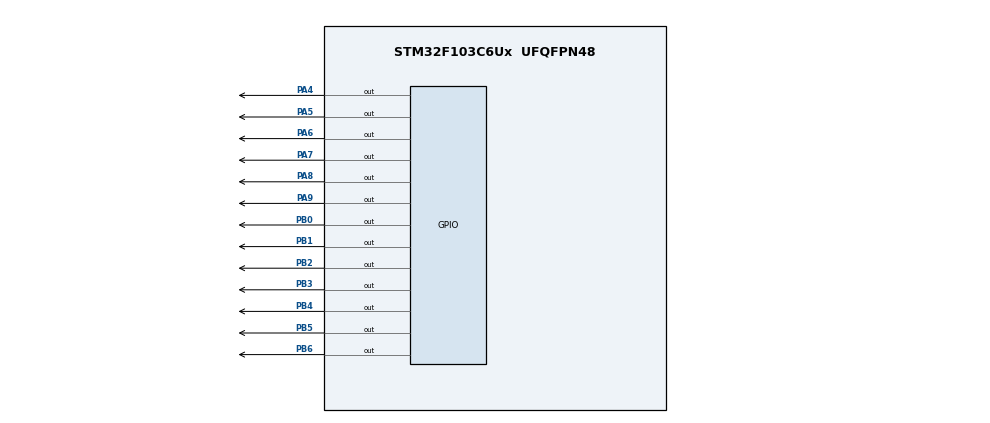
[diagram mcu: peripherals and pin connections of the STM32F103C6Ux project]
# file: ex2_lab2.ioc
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Mcu.Family=STM32F1
Mcu.Name=STM32F103C6Ux
Mcu.Package=UFQFPN48
NVIC.PriorityGroup=NVIC_PRIORITYGROUP_4
NVIC.TIM2_IRQn=true\:0\:0\:false\:false\:true\:true\:true
PA4.Signal=GPIO_Output
PA5.Signal=GPIO_Output
PA6.Signal=GPIO_Output
PA7.Signal=GPIO_Output
PA8.Signal=GPIO_Output
PA9.Signal=GPIO_Output
PB0.Signal=GPIO_Output
PB1.Signal=GPIO_Output
PB2.Signal=GPIO_Output
PB3.Signal=GPIO_Output
PB4.Signal=GPIO_Output
PB5.Signal=GPIO_Output
PB6.Signal=GPIO_Output
ProjectManager.HeapSize=0x200
ProjectManager.StackSize=0x400
ProjectManager.TargetToolchain=STM32CubeIDE
RCC.APB1Freq_Value=8000000
RCC.APB2Freq_Value=8000000
TIM2.Period=499
TIM2.Prescaler=7999
VP_SYS_VS_ND.Mode=No_Debug
VP_TIM2_VS_ClockSourceINT.Mode=Internal
board=custom

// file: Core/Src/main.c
/* USER CODE BEGIN Header */
/**
  ******************************************************************************
  * @file           : main.c
  * @brief          : Main program body
  ******************************************************************************
  * @attention
  *
  * <h2><center>&copy; Copyright (c) 2026 STMicroelectronics.
  * All rights reserved.</center></h2>
  *
  * This software component is licensed by ST under BSD 3-Clause license,
  * the "License"; You may not use this file except in compliance with the
  * License. You may obtain a copy of the License at:
  *                        opensource.org/licenses/BSD-3-Clause
  *
  ******************************************************************************
  */
/* USER CODE END Header */
#include "main.h"

TIM_HandleTypeDef htim2;

void SystemClock_Config(void);
static void MX_GPIO_Init(void);
static void MX_TIM2_Init(void);

/* USER CODE BEGIN 0 */
const uint8_t segment_code[10] = {
    0x40, // 0: a,b,c,d,e,f on (g off)
    0x79, // 1: b,c on
    0x24, // 2: a,b,d,e,g on
    0x30, // 3: a,b,c,d,g on
    0x19, // 4: b,c,f,g on
    0x12, // 5: a,c,d,f,g on
    0x02, // 6: a,c,d,e,f,g on
    0x78, // 7: a,b,c on
    0x00, // 8: a,b,c,d,e,f,g on
    0x10  // 9: a,b,c,d,f,g on
};

void display7SEG(int num) {
    if (num < 0 || num > 9) return;

    uint8_t code = segment_code[num];

    HAL_GPIO_WritePin(GPIOB, GPIO_PIN_0, (code & (1 << 0)) ? GPIO_PIN_SET : GPIO_PIN_RESET);
    HAL_GPIO_WritePin(GPIOB, GPIO_PIN_1, (code & (1 << 1)) ? GPIO_PIN_SET : GPIO_PIN_RESET);
    HAL_GPIO_WritePin(GPIOB, GPIO_PIN_2, (code & (1 << 2)) ? GPIO_PIN_SET : GPIO_PIN_RESET);
    HAL_GPIO_WritePin(GPIOB, GPIO_PIN_3, (code & (1 << 3)) ? GPIO_PIN_SET : GPIO_PIN_RESET);
    HAL_GPIO_WritePin(GPIOB, GPIO_PIN_4, (code & (1 << 4)) ? GPIO_PIN_SET : GPIO_PIN_RESET);
    HAL_GPIO_WritePin(GPIOB, GPIO_PIN_5, (code & (1 << 5)) ? GPIO_PIN_SET : GPIO_PIN_RESET);
    HAL_GPIO_WritePin(GPIOB, GPIO_PIN_6, (code & (1 << 6)) ? GPIO_PIN_SET : GPIO_PIN_RESET);
}
/* USER CODE END 0 */

int main(void)
{

  /* MCU Configuration--------------------------------------------------------*/

  /* Reset of all peripherals, Initializes the Flash interface and the Systick. */
  HAL_Init();

  /* Configure the system clock */
  SystemClock_Config();

  /* Initialize all configured peripherals */
  MX_GPIO_Init();
  MX_TIM2_Init();
  /* USER CODE BEGIN 2 */
  HAL_TIM_Base_Start_IT (& htim2 );
  /* USER CODE END 2 */

  /* Infinite loop */
  while (1)
  {

  }
}

void SystemClock_Config(void)
{
  RCC_OscInitTypeDef RCC_OscInitStruct = {0};
  RCC_ClkInitTypeDef RCC_ClkInitStruct = {0};

  /** Initializes the RCC Oscillators according to the specified parameters
  * in the RCC_OscInitTypeDef structure.
  */
  RCC_OscInitStruct.OscillatorType = RCC_OSCILLATORTYPE_HSI;
  RCC_OscInitStruct.HSIState = RCC_HSI_ON;
  RCC_OscInitStruct.HSICalibrationValue = RCC_HSICALIBRATION_DEFAULT;
  RCC_OscInitStruct.PLL.PLLState = RCC_PLL_NONE;
  if (HAL_RCC_OscConfig(&RCC_OscInitStruct) != HAL_OK)
  {
    Error_Handler();
  }
  /** Initializes the CPU, AHB and APB buses clocks
  */
  RCC_ClkInitStruct.ClockType = RCC_CLOCKTYPE_HCLK|RCC_CLOCKTYPE_SYSCLK
                              |RCC_CLOCKTYPE_PCLK1|RCC_CLOCKTYPE_PCLK2;
  RCC_ClkInitStruct.SYSCLKSource = RCC_SYSCLKSOURCE_HSI;
  RCC_ClkInitStruct.AHBCLKDivider = RCC_SYSCLK_DIV1;
  RCC_ClkInitStruct.APB1CLKDivider = RCC_HCLK_DIV1;
  RCC_ClkInitStruct.APB2CLKDivider = RCC_HCLK_DIV1;

  if (HAL_RCC_ClockConfig(&RCC_ClkInitStruct, FLASH_LATENCY_0) != HAL_OK)
  {
    Error_Handler();
  }
}

static void MX_TIM2_Init(void)
{

  TIM_ClockConfigTypeDef sClockSourceConfig = {0};
  TIM_MasterConfigTypeDef sMasterConfig = {0};

  htim2.Instance = TIM2;
  htim2.Init.Prescaler = 7999;
  htim2.Init.CounterMode = TIM_COUNTERMODE_UP;
  htim2.Init.Period = 499;
  htim2.Init.ClockDivision = TIM_CLOCKDIVISION_DIV1;
  htim2.Init.AutoReloadPreload = TIM_AUTORELOAD_PRELOAD_DISABLE;
  if (HAL_TIM_Base_Init(&htim2) != HAL_OK)
  {
    Error_Handler();
  }
  sClockSourceConfig.ClockSource = TIM_CLOCKSOURCE_INTERNAL;
  if (HAL_TIM_ConfigClockSource(&htim2, &sClockSourceConfig) != HAL_OK)
  {
    Error_Handler();
  }
  sMasterConfig.MasterOutputTrigger = TIM_TRGO_RESET;
  sMasterConfig.MasterSlaveMode = TIM_MASTERSLAVEMODE_DISABLE;
  if (HAL_TIMEx_MasterConfigSynchronization(&htim2, &sMasterConfig) != HAL_OK)
  {
    Error_Handler();
  }

}

static void MX_GPIO_Init(void)
{
  GPIO_InitTypeDef GPIO_InitStruct = {0};

  /* GPIO Ports Clock Enable */
  __HAL_RCC_GPIOA_CLK_ENABLE();
  __HAL_RCC_GPIOB_CLK_ENABLE();

  /*Configure GPIO pin Output Level */
  HAL_GPIO_WritePin(GPIOA, GPIO_PIN_4|GPIO_PIN_5|GPIO_PIN_6|GPIO_PIN_7
                          |GPIO_PIN_8|GPIO_PIN_9, GPIO_PIN_RESET);

  /*Configure GPIO pin Output Level */
  HAL_GPIO_WritePin(GPIOB, GPIO_PIN_0|GPIO_PIN_1|GPIO_PIN_2|GPIO_PIN_3
                          |GPIO_PIN_4|GPIO_PIN_5|GPIO_PIN_6, GPIO_PIN_RESET);

  /*Configure GPIO pins : PA4 PA5 PA6 PA7
                           PA8 PA9 */
  GPIO_InitStruct.Pin = GPIO_PIN_4|GPIO_PIN_5|GPIO_PIN_6|GPIO_PIN_7
                          |GPIO_PIN_8|GPIO_PIN_9;
  GPIO_InitStruct.Mode = GPIO_MODE_OUTPUT_PP;
  GPIO_InitStruct.Pull = GPIO_NOPULL;
  GPIO_InitStruct.Speed = GPIO_SPEED_FREQ_LOW;
  HAL_GPIO_Init(GPIOA, &GPIO_InitStruct);

  /*Configure GPIO pins : PB0 PB1 PB2 PB3
                           PB4 PB5 PB6 */
  GPIO_InitStruct.Pin = GPIO_PIN_0|GPIO_PIN_1|GPIO_PIN_2|GPIO_PIN_3
                          |GPIO_PIN_4|GPIO_PIN_5|GPIO_PIN_6;
  GPIO_InitStruct.Mode = GPIO_MODE_OUTPUT_PP;
  GPIO_InitStruct.Pull = GPIO_NOPULL;
  GPIO_InitStruct.Speed = GPIO_SPEED_FREQ_LOW;
  HAL_GPIO_Init(GPIOB, &GPIO_InitStruct);

}

/* USER CODE BEGIN 4 */
int led_state=0;
void HAL_TIM_PeriodElapsedCallback(TIM_HandleTypeDef *htim){
	if(htim->Instance == TIM2){
		HAL_GPIO_TogglePin(GPIOA,GPIO_PIN_4);
		HAL_GPIO_WritePin(GPIOA,GPIO_PIN_6|GPIO_PIN_7|GPIO_PIN_8|GPIO_PIN_9, GPIO_PIN_SET);
		switch(led_state){
			case 0:
				display7SEG(1);
				HAL_GPIO_WritePin(GPIOA,GPIO_PIN_6,GPIO_PIN_RESET);
				led_state=1;
				break;
			case 1:
				display7SEG(2);
				HAL_GPIO_WritePin(GPIOA,GPIO_PIN_7,GPIO_PIN_RESET);
				led_state=2;
				break;
			case 2:
				display7SEG(3);
				HAL_GPIO_WritePin(GPIOA,GPIO_PIN_8,GPIO_PIN_RESET);
				led_state=3;
				break;
			case 3:
				display7SEG(0);
				HAL_GPIO_WritePin(GPIOA,GPIO_PIN_9,GPIO_PIN_RESET);
				led_state=0;
				break;
		}
	}
}
/* USER CODE END 4 */

void Error_Handler(void)
{
  __disable_irq();
  while (1)
  {
  }
}

/************************ (C) COPYRIGHT STMicroelectronics *****END OF FILE****/
